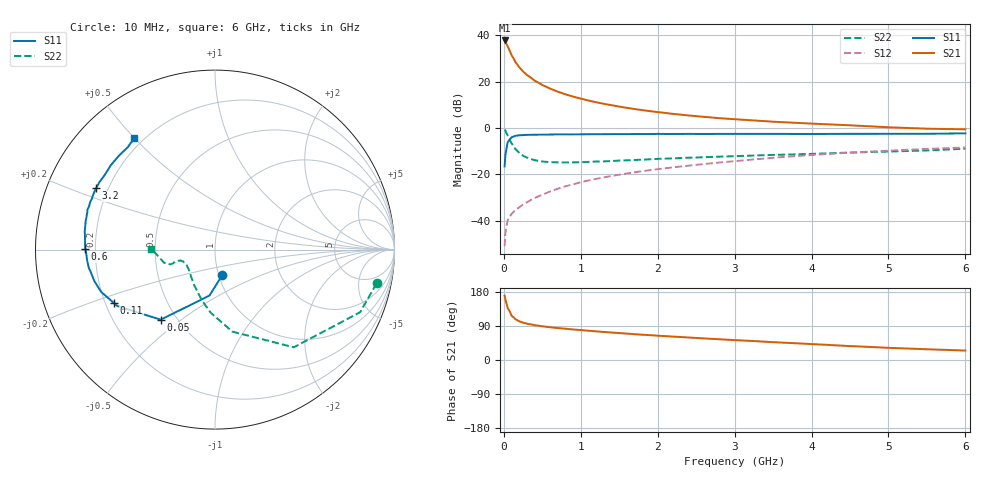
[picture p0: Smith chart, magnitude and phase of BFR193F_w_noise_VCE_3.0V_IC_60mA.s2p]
! Infineon Technologies  Discrete & RF Semiconductors
! BFR193F
! VCE =  3.0 V,  IC =  60 mA
! Common Emitter S-Parameters:  Jan 2017
# GHz  S  MA  R  50
!  f  S11  S21  S12  S22
! GHz  MAG  ANG  MAG  ANG  MAG  ANG  MAG  ANG
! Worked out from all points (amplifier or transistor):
!   77 points, 10 MHz to 6 GHz, reference 50 ohm
!   highest |S21| = 37.8 dB at 10 MHz (marker M1)
!   |S21| within 3 dB of that: start of sweep to 56.64 MHz
!   unconditionally stable (mu >= 1): 693.3 MHz to 2.604 GHz
!   at 130 MHz: K = 0.57, MSG = 32.9 dB, |S12| = -36.1 dB
!   at 2.2 GHz: K = 1.01, MAG = 10.8 dB, |S12| = -17.0 dB
!   at 6 GHz: K = 0.88, MSG = 3.9 dB, |S12| = -8.4 dB
!   lowest NFmin = 1.64 dB at 450 MHz
!   S11 on the Smith chart (normalised r, x): 10 MHz: 1.04, -0.30; 50 MHz: 0.41, -0.42; 110 MHz: 0.23, -0.24; 600 MHz: 0.16, +0.00; 3.2 GHz: 0.15, +0.24; 6 GHz: 0.17, +0.50
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0.01  0.1472 -73.9  77.68 169.7  0.0028 82.7  0.9199 -11.8
0.02  0.2576 -96.8  74.01 159.3  0.0053 80.1  0.881 -23.3
0.05  0.4935 -127.7  58.01 136.5  0.0101 58.8  0.6992 -51.1
0.1  0.6288 -150.0  37.49 116.8  0.0139 53.7  0.4673 -78.0
0.11  0.637 -152.1  35.28 115.4  0.0145 53.6  0.442 -80.5
0.15  0.6772 -159.7  26.73 107.7  0.0169 53.1  0.3521 -94.0
0.2  0.6946 -165.4  20.55 102.1  0.0193 56.7  0.2906 -104.7
0.25  0.7025 -169.4  16.61 98.5  0.0223 58.6  0.2502 -113.7
0.3  0.7104 -171.8  13.96 95.9  0.0248 62.3  0.2291 -120.6
0.4  0.7153 -175.6  10.55 91.8  0.0306 66.5  0.2016 -131.2
0.5  0.7179 -178.3  8.481 89.0  0.0362 68.6  0.1887 -138.3
0.6  0.7228 179.7  7.103 86.5  0.0424 70.1  0.1824 -144.3
0.7  0.7247 177.6  6.1 84.3  0.0486 71.8  0.1811 -148.1
0.8  0.7253 176.3  5.341 82.6  0.055 73.1  0.1802 -151.7
1.1  0.7329 172.1  3.914 77.2  0.0737 74.1  0.1855 -157.4
1.5  0.7385 167.6  2.9 71.1  0.0979 74.2  0.1977 -161.4
2.1  0.7431 161.8  2.109 63.0  0.135 73.6  0.2179 -163.1
3.1  0.7451 153.4  1.508 51.5  0.1988 71.1  0.2491 -161.8
3.2  0.7449 152.6  1.472 50.5  0.2058 70.7  0.2522 -161.8
4.1  0.7427 144.6  1.222 41.0  0.2675 66.3  0.2793 -163.5
5.1  0.7482 134.7  1.021 31.4  0.3293 60.3  0.313 -171.9
6  0.7662 126.1  0.936 24.9  0.3791 54.7  0.357 179.5
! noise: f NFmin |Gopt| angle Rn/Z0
0.45  1.64  0.49  -178  0.08
0.9  1.73  0.5  -177  0.09
1.9  2.33  0.61  -162  0.1
2.4  2.66  0.62  -155  0.17
